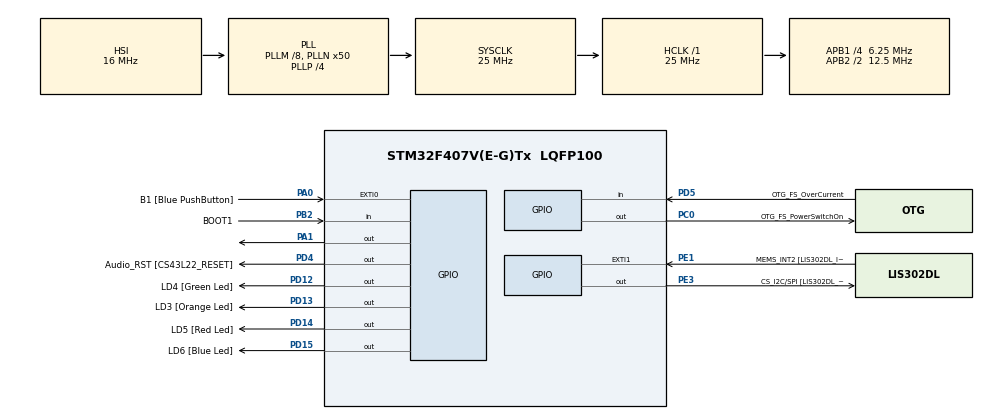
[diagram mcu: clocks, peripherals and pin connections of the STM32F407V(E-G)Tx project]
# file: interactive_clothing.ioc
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Mcu.Family=STM32F4
Mcu.Name=STM32F407V(E-G)Tx
Mcu.Package=LQFP100
NVIC.PriorityGroup=NVIC_PRIORITYGROUP_0
PA0-WKUP.GPIO_Label=B1 [Blue PushButton]
PA0-WKUP.Signal=GPXTI0
PA1.Signal=GPIO_Output
PA10.GPIO_Label=OTG_FS_ID
PA10.GPIO_Mode=GPIO_MODE_AF_PP
PA10.GPIO_PuPd=GPIO_NOPULL
PA10.GPIO_Speed=GPIO_SPEED_FREQ_LOW
PA10.Signal=USB_OTG_FS_ID
PA11.GPIO_Label=OTG_FS_DM
PA11.GPIO_Mode=GPIO_MODE_AF_PP
PA11.GPIO_PuPd=GPIO_NOPULL
PA11.GPIO_Speed=GPIO_SPEED_FREQ_LOW
PA11.Signal=USB_OTG_FS_DM
PA12.GPIO_Label=OTG_FS_DP
PA12.GPIO_Mode=GPIO_MODE_AF_PP
PA12.GPIO_PuPd=GPIO_NOPULL
PA12.GPIO_Speed=GPIO_SPEED_FREQ_LOW
PA12.Signal=USB_OTG_FS_DP
PA13.GPIO_Label=SWDIO
PA13.Signal=SYS_JTMS-SWDIO
PA14.GPIO_Label=SWCLK
PA14.Signal=SYS_JTCK-SWCLK
PA4.GPIO_Label=I2S3_WS [CS43L22_LRCK]
PA4.GPIO_Mode=GPIO_MODE_AF_PP
PA4.GPIO_PuPd=GPIO_NOPULL
PA4.GPIO_Speed=GPIO_SPEED_FREQ_LOW
PA4.Signal=I2S3_WS
PA5.GPIO_Label=SPI1_SCK [LIS302DL_SCL/SPC]
PA5.GPIO_Mode=GPIO_MODE_AF_PP
PA5.GPIO_PuPd=GPIO_NOPULL
PA5.GPIO_Speed=GPIO_SPEED_FREQ_LOW
PA5.Signal=SPI1_SCK
PA6.GPIO_Label=SPI1_MISO [LIS302DL_SDO]
PA6.GPIO_Mode=GPIO_MODE_AF_PP
PA6.GPIO_PuPd=GPIO_NOPULL
PA6.GPIO_Speed=GPIO_SPEED_FREQ_LOW
PA6.Signal=SPI1_MISO
PA7.GPIO_Label=SPI1_MOSI [LIS302DL_SDA/SDI/SDO]
PA7.GPIO_Mode=GPIO_MODE_AF_PP
PA7.GPIO_PuPd=GPIO_NOPULL
PA7.GPIO_Speed=GPIO_SPEED_FREQ_LOW
PA7.Signal=SPI1_MOSI
PA9.GPIO_Label=VBUS_FS
PA9.GPIO_Mode=GPIO_MODE_INPUT
PA9.GPIO_PuPd=GPIO_NOPULL
PA9.Signal=USB_OTG_FS_VBUS
PB10.GPIO_Label=CLK_IN [MP45DT02_CLK]
PB10.GPIO_Mode=GPIO_MODE_AF_PP
PB10.GPIO_PuPd=GPIO_NOPULL
PB10.GPIO_Speed=GPIO_SPEED_FREQ_LOW
PB10.Signal=I2S2_CK
PB2.GPIO_Label=BOOT1
PB2.GPIO_Mode=GPIO_MODE_INPUT
PB2.GPIO_PuPd=GPIO_NOPULL
PB2.Signal=GPIO_Input
PB3.GPIO_Label=SWO
PB3.Signal=SYS_JTDO-SWO
PB6.GPIO_Label=Audio_SCL [CS43L22_SCL]
PB6.GPIO_Mode=GPIO_MODE_AF_OD
PB6.GPIO_PuPd=GPIO_NOPULL
PB6.GPIO_Speed=GPIO_SPEED_FREQ_LOW
PB6.Signal=I2C1_SCL
PB9.GPIO_Label=Audio_SDA [CS43L22_SDA]
PB9.GPIO_Mode=GPIO_MODE_AF_OD
PB9.GPIO_PuPd=GPIO_NOPULL
PB9.GPIO_Speed=GPIO_SPEED_FREQ_LOW
PB9.Signal=I2C1_SDA
PC0.GPIO_Label=OTG_FS_PowerSwitchOn
PC0.GPIO_PuPd=GPIO_NOPULL
PC0.GPIO_Speed=GPIO_SPEED_FREQ_LOW
PC0.PinState=GPIO_PIN_SET
PC0.Signal=GPIO_Output
PC10.GPIO_Label=I2S3_SCK [CS43L22_SCLK]
PC10.GPIO_Mode=GPIO_MODE_AF_PP
PC10.GPIO_PuPd=GPIO_NOPULL
PC10.GPIO_Speed=GPIO_SPEED_FREQ_LOW
PC10.Signal=I2S3_CK
PC12.GPIO_Label=I2S3_SD [CS43L22_SDIN]
PC12.GPIO_Mode=GPIO_MODE_AF_PP
PC12.GPIO_PuPd=GPIO_NOPULL
PC12.GPIO_Speed=GPIO_SPEED_FREQ_LOW
PC12.Signal=I2S3_SD
PC14-OSC32_IN.GPIO_Label=PC14-OSC32_IN
PC14-OSC32_IN.Signal=RCC_OSC32_IN
PC15-OSC32_OUT.GPIO_Label=PC15-OSC32_OUT
PC15-OSC32_OUT.Signal=RCC_OSC32_OUT
PC3.GPIO_Label=PDM_OUT [MP45DT02_DOUT]
PC3.GPIO_Mode=GPIO_MODE_AF_PP
PC3.GPIO_PuPd=GPIO_NOPULL
PC3.GPIO_Speed=GPIO_SPEED_FREQ_LOW
PC3.Signal=I2S2_SD
PC7.GPIO_Label=I2S3_MCK [CS43L22_MCLK]
PC7.GPIO_Mode=GPIO_MODE_AF_PP
PC7.GPIO_PuPd=GPIO_NOPULL
PC7.GPIO_Speed=GPIO_SPEED_FREQ_LOW
PC7.Signal=I2S3_MCK
PD12.GPIO_Label=LD4 [Green Led]
PD12.GPIO_PuPd=GPIO_NOPULL
PD12.GPIO_Speed=GPIO_SPEED_FREQ_LOW
PD12.Signal=GPIO_Output
PD13.GPIO_Label=LD3 [Orange Led]
PD13.GPIO_PuPd=GPIO_NOPULL
PD13.GPIO_Speed=GPIO_SPEED_FREQ_LOW
PD13.Signal=GPIO_Output
PD14.GPIO_Label=LD5 [Red Led]
PD14.GPIO_PuPd=GPIO_NOPULL
PD14.GPIO_Speed=GPIO_SPEED_FREQ_LOW
PD14.Signal=GPIO_Output
PD15.GPIO_Label=LD6 [Blue Led]
PD15.GPIO_PuPd=GPIO_NOPULL
PD15.GPIO_Speed=GPIO_SPEED_FREQ_LOW
PD15.Signal=GPIO_Output
PD4.GPIO_Label=Audio_RST [CS43L22_RESET]
PD4.GPIO_PuPd=GPIO_NOPULL
PD4.GPIO_Speed=GPIO_SPEED_FREQ_LOW
PD4.Signal=GPIO_Output
PD5.GPIO_Label=OTG_FS_OverCurrent
PD5.GPIO_Mode=GPIO_MODE_INPUT
PD5.GPIO_PuPd=GPIO_NOPULL
PD5.Signal=GPIO_Input
PE1.GPIO_Label=MEMS_INT2 [LIS302DL_INT2]
PE1.GPIO_ModeDefaultEXTI=GPIO_MODE_EVT_RISING
PE1.GPIO_PuPd=GPIO_NOPULL
PE1.Signal=GPXTI1
PE3.GPIO_Label=CS_I2C/SPI [LIS302DL_CS_I2C/SPI]
PE3.GPIO_PuPd=GPIO_NOPULL
PE3.GPIO_Speed=GPIO_SPEED_FREQ_LOW
PE3.Signal=GPIO_Output
PH0-OSC_IN.GPIO_Label=PH0-OSC_IN
PH0-OSC_IN.Signal=RCC_OSC_IN
PH1-OSC_OUT.GPIO_Label=PH1-OSC_OUT
PH1-OSC_OUT.Signal=RCC_OSC_OUT
ProjectManager.HeapSize=0x200
ProjectManager.StackSize=0x400
ProjectManager.TargetToolchain=SW4STM32
RCC.48MHZClocksFreq_Value=14285714.285714285
RCC.AHBFreq_Value=25000000
RCC.APB1CLKDivider=RCC_HCLK_DIV4
RCC.APB1Freq_Value=6250000
RCC.APB1TimFreq_Value=12500000
RCC.APB2CLKDivider=RCC_HCLK_DIV2
RCC.APB2Freq_Value=12500000
RCC.APB2TimFreq_Value=25000000
RCC.CortexFreq_Value=25000000
RCC.HCLKFreq_Value=25000000
RCC.HSE_VALUE=8000000
RCC.HSI_VALUE=16000000
RCC.LSE_VALUE=32768
RCC.PLLM=8
RCC.PLLN=50
RCC.PLLP=RCC_PLLP_DIV4
RCC.PLLQ=7
RCC.SYSCLKFreq_VALUE=25000000
RCC.SYSCLKSource=RCC_SYSCLKSOURCE_PLLCLK
RCC.VCOOutputFreq_Value=100000000
TIM1.Period=0xffff-1
TIM1.Prescaler=1-1
VP_TIM1_VS_ClockSourceINT.Mode=Internal
board=STM32F407G-DISC1

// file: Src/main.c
/* USER CODE BEGIN Header */
/**
  ******************************************************************************
  * @file           : main.c
  * @brief          : Main program body
  ******************************************************************************
  * @attention
  *
  * <h2><center>&copy; Copyright (c) 2019 STMicroelectronics.
  * All rights reserved.</center></h2>
  *
  * This software component is licensed by ST under BSD 3-Clause license,
  * the "License"; You may not use this file except in compliance with the
  * License. You may obtain a copy of the License at:
  *                        opensource.org/licenses/BSD-3-Clause
  *
  ******************************************************************************
  */
/* USER CODE END Header */

#include "main.h"
#include "tim.h"
#include "gpio.h"

void SystemClock_Config(void);

/* USER CODE BEGIN 0 */
void delay(uint16_t delay) {
    __HAL_TIM_SET_COUNTER(&htim1, 0);
    while(__HAL_TIM_GET_COUNTER(&htim1) < delay);
}

//--------------------------------------------------------------------

void T0H(void) {
	GPIOA->ODR |= (0x0001<<1);
    delay(1000);
}

void T1H(void) {
	GPIOA->ODR |= 1<<1;
    delay(2000);
}

void T0L(void) {
	GPIOA->ODR &= ~(1<<1);
    delay(2500);
}

void T1L(void) {
	GPIOA->ODR &= ~(1<<1);
    delay(1500);
}

void RES(void) {
	GPIOA->ODR &= ~(1<<1);
    delay(5000);
}

void SET_ZERO(void) {
    T0H();
    T0L();
}

void SET_ONE(void) {
    T1H();
    T1L();
}
//--------------------------------------------------------------------

inline void send_byte(int a) {
    for (int i = 7; i >= 0; i--) {
        int x = (a >> i) & 1;
        if (x == 1) {
            SET_ONE();
        } else {
            SET_ZERO();

        }
    }
}

/* USER CODE END 0 */

int main(void)
{

  /* MCU Configuration--------------------------------------------------------*/

  /* Reset of all peripherals, Initializes the Flash interface and the Systick. */
  HAL_Init();

  /* Configure the system clock */
  SystemClock_Config();

  /* Initialize all configured peripherals */
  MX_GPIO_Init();
  MX_TIM1_Init();
  /* USER CODE BEGIN 2 */
  HAL_TIM_Base_Start(&htim1);
  /* USER CODE END 2 */

  /* Infinite loop */
  /* USER CODE BEGIN WHILE */
    RES();
    while (1) {
        for (int i = 0; i < 5; i++) {
            send_byte(0xFF);
            send_byte(0xFF);
            send_byte(0x00);
        }
        RES();
    /* USER CODE END WHILE */

  }
}

void SystemClock_Config(void)
{
  RCC_OscInitTypeDef RCC_OscInitStruct = {0};
  RCC_ClkInitTypeDef RCC_ClkInitStruct = {0};

  /** Configure the main internal regulator output voltage
  */
  __HAL_RCC_PWR_CLK_ENABLE();
  __HAL_PWR_VOLTAGESCALING_CONFIG(PWR_REGULATOR_VOLTAGE_SCALE1);
  /** Initializes the CPU, AHB and APB busses clocks
  */
  RCC_OscInitStruct.OscillatorType = RCC_OSCILLATORTYPE_HSI;
  RCC_OscInitStruct.HSIState = RCC_HSI_ON;
  RCC_OscInitStruct.HSICalibrationValue = RCC_HSICALIBRATION_DEFAULT;
  RCC_OscInitStruct.PLL.PLLState = RCC_PLL_ON;
  RCC_OscInitStruct.PLL.PLLSource = RCC_PLLSOURCE_HSI;
  RCC_OscInitStruct.PLL.PLLM = 8;
  RCC_OscInitStruct.PLL.PLLN = 50;
  RCC_OscInitStruct.PLL.PLLP = RCC_PLLP_DIV4;
  RCC_OscInitStruct.PLL.PLLQ = 7;
  if (HAL_RCC_OscConfig(&RCC_OscInitStruct) != HAL_OK)
  {
    Error_Handler();
  }
  /** Initializes the CPU, AHB and APB busses clocks
  */
  RCC_ClkInitStruct.ClockType = RCC_CLOCKTYPE_HCLK|RCC_CLOCKTYPE_SYSCLK
                              |RCC_CLOCKTYPE_PCLK1|RCC_CLOCKTYPE_PCLK2;
  RCC_ClkInitStruct.SYSCLKSource = RCC_SYSCLKSOURCE_PLLCLK;
  RCC_ClkInitStruct.AHBCLKDivider = RCC_SYSCLK_DIV1;
  RCC_ClkInitStruct.APB1CLKDivider = RCC_HCLK_DIV4;
  RCC_ClkInitStruct.APB2CLKDivider = RCC_HCLK_DIV2;

  if (HAL_RCC_ClockConfig(&RCC_ClkInitStruct, FLASH_LATENCY_0) != HAL_OK)
  {
    Error_Handler();
  }
}

void Error_Handler(void)
{
}

/************************ (C) COPYRIGHT STMicroelectronics *****END OF FILE****/
